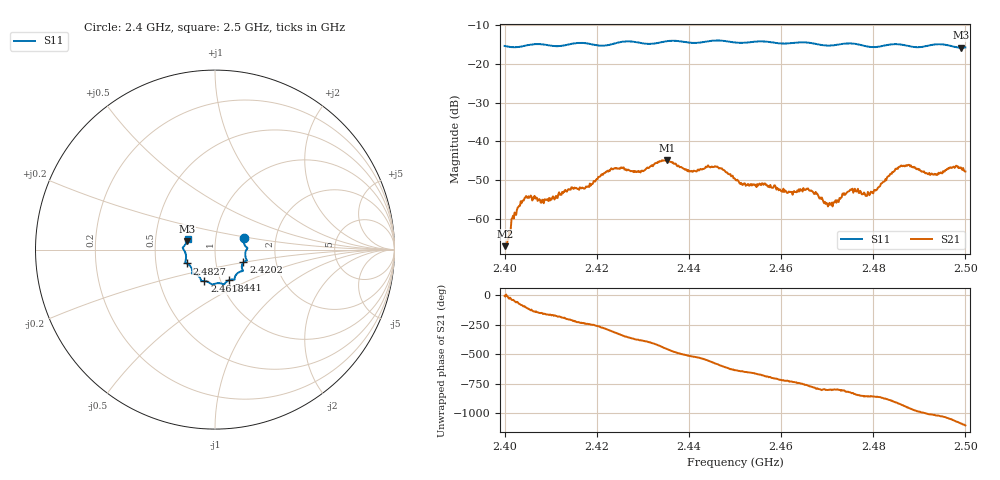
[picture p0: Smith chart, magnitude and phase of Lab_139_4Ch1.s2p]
# Hz S RI R 50
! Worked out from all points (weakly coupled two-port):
!   601 points, 2.4 GHz to 2.5 GHz, reference 50 ohm
!   highest |S21| = -44.85 dB at 2.4352 GHz (marker M1); lowest = -67.1 dB at 2.4002 GHz (marker M2)
!   lowest |S11| = -15.8 dB at 2.499 GHz (marker M3), VSWR 1.39, Z = 36.4 + j3.47 ohm
!   |S11| at or under -10 dB: start of sweep to end of sweep
!   S12 and S22 are empty: the file has one direction only
!   S11 on the Smith chart (normalised r, x): 2.4 GHz: 1.36, +0.18; 2.4202 GHz: 1.36, -0.20; 2.441 GHz: 1.10, -0.39; 2.4618 GHz: 0.84, -0.30; 2.4827 GHz: 0.72, -0.12; 2.5 GHz: 0.73, +0.09
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2.4e9  0.1588 0.0631  0.000458 -2.66e-05  0 0  0 0
2.400167e9  0.1587 0.0614  0.000436 -7.62e-05  0 0  0 0
2.402e9  0.1597 0.0391  0.000746 -0.000672  0 0  0 0
2.404333e9  0.1708 0.0174  -3.28e-05 -0.00185  0 0  0 0
2.416667e9  0.1772 -0.061  -0.00156 0.00192  0 0  0 0
2.420167e9  0.1586 -0.0712  -0.00057 0.0032  0 0  0 0
2.433333e9  0.1117 -0.1507  0.00245 -0.00487  0 0  0 0
2.435167e9  0.1094 -0.1638  -0.000369 -0.00571  0 0  0 0
2.441e9  0.0786 -0.1698  -0.00393 -0.00142  0 0  0 0
2.445833e9  0.0501 -0.1951  -0.00368 0.00299  0 0  0 0
2.45e9  0.0287 -0.1874  0.000246 0.00327  0 0  0 0
2.461833e9  -0.0589 -0.1755  0.00217 -0.000463  0 0  0 0
2.466667e9  -0.0788 -0.1685  0.00132 -0.00187  0 0  0 0
2.470667e9  -0.1012 -0.1404  0.000293 -0.00149  0 0  0 0
2.475e9  -0.1273 -0.1335  -0.000491 -0.00233  0 0  0 0
2.478833e9  -0.1288 -0.1072  -0.00167 -0.00147  0 0  0 0
2.482667e9  -0.156 -0.0773  -0.00295 -0.0014  0 0  0 0
2.483333e9  -0.1605 -0.0754  -0.00344 -0.000963  0 0  0 0
2.4865e9  -0.1645 -0.0635  -0.00409 0.00253  0 0  0 0
2.4935e9  -0.179 0.00713  0.00171 0.00329  0 0  0 0
2.499e9  -0.1557 0.0464  0.00458 -0.000518  0 0  0 0
2.5e9  -0.1524 0.0606  0.00376 -0.00159  0 0  0 0
